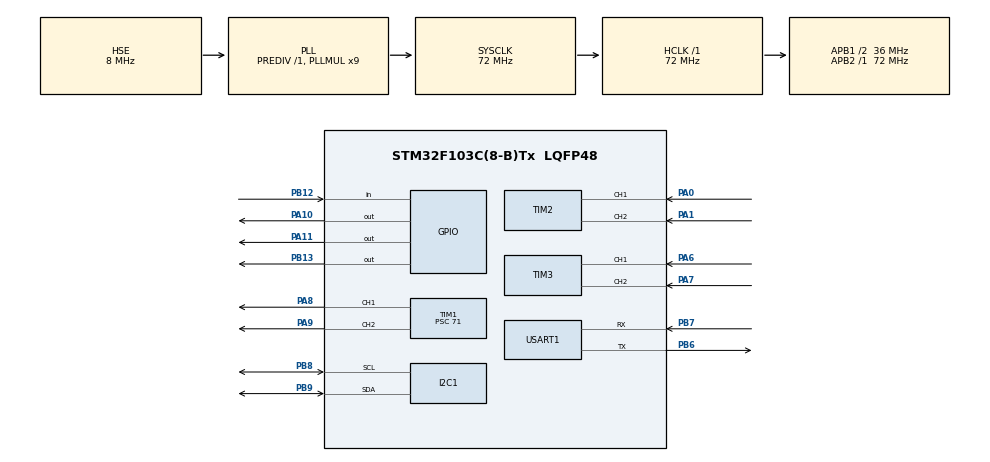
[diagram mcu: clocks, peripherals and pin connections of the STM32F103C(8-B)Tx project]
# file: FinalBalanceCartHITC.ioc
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Mcu.Family=STM32F1
Mcu.Name=STM32F103C(8-B)Tx
Mcu.Package=LQFP48
NVIC.PriorityGroup=NVIC_PRIORITYGROUP_4
NVIC.TIM4_IRQn=true\:0\:0\:false\:false\:true\:true\:true\:true
PA0-WKUP.Signal=S_TIM2_CH1_ETR
PA1.Signal=S_TIM2_CH2
PA10.Signal=GPIO_Output
PA11.Signal=GPIO_Output
PA13.Mode=Serial_Wire
PA13.Signal=SYS_JTMS-SWDIO
PA14.Mode=Serial_Wire
PA14.Signal=SYS_JTCK-SWCLK
PA6.Signal=S_TIM3_CH1
PA7.Signal=S_TIM3_CH2
PA8.Signal=S_TIM1_CH1
PA9.Signal=S_TIM1_CH2
PB12.Signal=GPIO_Input
PB13.Signal=GPIO_Output
PB6.Mode=Asynchronous
PB6.Signal=USART1_TX
PB7.Mode=Asynchronous
PB7.Signal=USART1_RX
PB8.Mode=I2C
PB8.Signal=I2C1_SCL
PB9.Mode=I2C
PB9.Signal=I2C1_SDA
PD0-OSC_IN.Mode=HSE-External-Oscillator
PD0-OSC_IN.Signal=RCC_OSC_IN
PD1-OSC_OUT.Mode=HSE-External-Oscillator
PD1-OSC_OUT.Signal=RCC_OSC_OUT
ProjectManager.HeapSize=0x200
ProjectManager.StackSize=0x400
ProjectManager.TargetToolchain=MDK-ARM V5.32
RCC.AHBFreq_Value=72000000
RCC.APB1CLKDivider=RCC_HCLK_DIV2
RCC.APB1Freq_Value=36000000
RCC.APB1TimFreq_Value=72000000
RCC.APB2Freq_Value=72000000
RCC.APB2TimFreq_Value=72000000
RCC.HCLKFreq_Value=72000000
RCC.PLLMUL=RCC_PLL_MUL9
RCC.PLLSourceVirtual=RCC_PLLSOURCE_HSE
RCC.SYSCLKFreq_VALUE=72000000
RCC.SYSCLKSource=RCC_SYSCLKSOURCE_PLLCLK
RCC.USBFreq_Value=72000000
SH.S_TIM1_CH1.0=TIM1_CH1,PWM Generation1 CH1
SH.S_TIM1_CH2.0=TIM1_CH2,PWM Generation2 CH2
SH.S_TIM2_CH1_ETR.0=TIM2_CH1,Encoder_Interface
SH.S_TIM2_CH2.0=TIM2_CH2,Encoder_Interface
SH.S_TIM3_CH1.0=TIM3_CH1,Encoder_Interface
SH.S_TIM3_CH2.0=TIM3_CH2,Encoder_Interface
TIM1.AutoReloadPreload=TIM_AUTORELOAD_PRELOAD_ENABLE
TIM1.Channel-PWM\ Generation1\ CH1=TIM_CHANNEL_1
TIM1.Channel-PWM\ Generation2\ CH2=TIM_CHANNEL_2
TIM1.Period=99
TIM1.Prescaler=71
TIM2.AutoReloadPreload=TIM_AUTORELOAD_PRELOAD_ENABLE
TIM2.EncoderMode=TIM_ENCODERMODE_TI12
TIM2.IC1Filter=10
TIM3.AutoReloadPreload=TIM_AUTORELOAD_PRELOAD_ENABLE
TIM3.EncoderMode=TIM_ENCODERMODE_TI12
TIM3.IC1Filter=10
TIM4.Period=999
TIM4.Prescaler=7199
USART1.VirtualMode=VM_ASYNC
VP_TIM1_VS_ClockSourceINT.Mode=Internal
VP_TIM4_VS_ClockSourceINT.Mode=Internal
board=custom

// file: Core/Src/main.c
/* USER CODE BEGIN Header */
/**
  ******************************************************************************
  * @file           : main.c
  * @brief          : Main program body
  ******************************************************************************
  * @attention
  *
  * Copyright (c) 2025 STMicroelectronics.
  * All rights reserved.
  *
  * This software is licensed under terms that can be found in the LICENSE file
  * in the root directory of this software component.
  * If no LICENSE file comes with this software, it is provided AS-IS.
  *
  ******************************************************************************
  */
/* USER CODE END Header */
#include "main.h"

/* USER CODE BEGIN Includes */
#include "mpu6050.h"
#include "pid.h"
#include "motor_control.h"
#include "encoder.h"
#include "safety.h"
#include "flash_storage.h"
#include <stdio.h>
#include <math.h>
#include <string.h>
/* USER CODE END Includes */

I2C_HandleTypeDef hi2c1;

TIM_HandleTypeDef htim1;
TIM_HandleTypeDef htim2;
TIM_HandleTypeDef htim3;
TIM_HandleTypeDef htim4;

UART_HandleTypeDef huart1;

/* USER CODE BEGIN PV */
// PID & Kalman Filter
MPU6050_t mpu6050;
Encoder motor1Encoder;
Encoder motor2Encoder;
PID_Controller pidRoll;

/* USER CODE END PV */

void SystemClock_Config(void);
static void MX_GPIO_Init(void);
static void MX_I2C1_Init(void);
static void MX_TIM1_Init(void);
static void MX_TIM2_Init(void);
static void MX_TIM3_Init(void);
static void MX_USART1_UART_Init(void);
static void MX_TIM4_Init(void);
/* USER CODE BEGIN PFP */
// Ham lay thoi gian hien tai
uint32_t millis(void) {
    return HAL_GetTick();
}

// Ham doc goc nghieng hien tai (cho Auto-Tune)
//float GetCurrentTiltAngle(void) {
//    MPU6050_Data data;
//    MPU6050_ReadData(&data);
//		Ax=data.angleX;
//    return data.angleX;
//}

// Ham dieu khien motor (cho Auto-Tune)
void SetMotorSpeed(float speed) {
    Motor_SetSpeed(speed, speed);
}

// In log debug qua UART
void LogData(float angle, float speedL, float speedR, int16_t enc1, int16_t enc2) {
    char buffer[128];
    printf(buffer, sizeof(buffer), "Angle: %.2f, SpeedL: %.2f, SpeedR: %.2f, Enc1: %d, Enc2: %d\r\n",
             angle, speedL, speedR, enc1, enc2);
    HAL_UART_Transmit(&huart1, (uint8_t*)buffer, strlen(buffer), HAL_MAX_DELAY);
}
/* USER CODE END PFP */

/* USER CODE BEGIN 0 */
// Thong so PID
float filteredAngleX,filteredAngleY;
const float tiltLimit = 30.0f;  // Nguong goc nga toi da
float speed;
uint8_t stop=0;
/* USER CODE END 0 */

int main(void)
{

  /* MCU Configuration--------------------------------------------------------*/

  /* Reset of all peripherals, Initializes the Flash interface and the Systick. */
  HAL_Init();

  /* Configure the system clock */
  SystemClock_Config();

  /* Initialize all configured peripherals */
  MX_GPIO_Init();
  MX_I2C1_Init();
  MX_TIM1_Init();
  MX_TIM2_Init();
  MX_TIM3_Init();
  MX_USART1_UART_Init();
  MX_TIM4_Init();
  /* USER CODE BEGIN 2 */
	HAL_TIM_Base_Start_IT(&htim4);
		// Khoi tao module
    MPU6050_Init(&hi2c1);
		HAL_Delay(100);
    Motor_Init();
    Safety_Init(); //lỗi
		Encoder_Init(&motor1Encoder, &htim2);
    Encoder_Init(&motor2Encoder, &htim3);

		//PID
		PID_Init(&pidRoll, 5.0f, 0.01f, 1.2f);

    // Doc thong so PID tu Flash
    PID_LoadFromFlash(&pidRoll);

    // Khoi dong PWM va Encoder
    HAL_TIM_PWM_Start(&htim1, TIM_CHANNEL_1);  // Motor 1
    HAL_TIM_PWM_Start(&htim1, TIM_CHANNEL_2);  // Motor 2
    HAL_TIM_Encoder_Start(&htim2, TIM_CHANNEL_ALL);  // Encoder motor 1
    HAL_TIM_Encoder_Start(&htim3, TIM_CHANNEL_ALL);  // Encoder motor 2

		uint32_t lastTime = millis();
		MPU6050_Read_All(&hi2c1, &mpu6050);
  /* USER CODE END 2 */

  /* Infinite loop */
  while (1)
  {

    /* USER CODE BEGIN 3 */
		uint32_t now = HAL_GetTick();
    float dt = (now - lastTime) / 1000.0f;
    lastTime = now;

    // Loc goc nghieng voi Kalman
		MPU6050_Read_All(&hi2c1, &mpu6050);
		//Lay goc cua X
		filteredAngleX = mpu6050.KalmanAngleX;
		//Lay gia tri goc Y
    filteredAngleY =  mpu6050.KalmanAngleY;

    // Tinh toan toc do tu PID
    speed = PID_Compute(&pidRoll, filteredAngleX, 0.f);
		if(stop==0)
			Motor_SetSpeed(speed, speed);
    // Doc toc do encoder
    int16_t speed1 = Encoder_GetSpeed(&motor1Encoder);
    int16_t speed2 = Encoder_GetSpeed(&motor2Encoder);

    // Debug (neu co UART)
    printf("Angle: %.2f, Speed1: %d, Speed2: %d\n", filteredAngleX, speed1, speed2);
	}
  /* USER CODE END 3 */
}

void SystemClock_Config(void)
{
  RCC_OscInitTypeDef RCC_OscInitStruct = {0};
  RCC_ClkInitTypeDef RCC_ClkInitStruct = {0};

  /** Initializes the RCC Oscillators according to the specified parameters
  * in the RCC_OscInitTypeDef structure.
  */
  RCC_OscInitStruct.OscillatorType = RCC_OSCILLATORTYPE_HSE;
  RCC_OscInitStruct.HSEState = RCC_HSE_ON;
  RCC_OscInitStruct.HSEPredivValue = RCC_HSE_PREDIV_DIV1;
  RCC_OscInitStruct.HSIState = RCC_HSI_ON;
  RCC_OscInitStruct.PLL.PLLState = RCC_PLL_ON;
  RCC_OscInitStruct.PLL.PLLSource = RCC_PLLSOURCE_HSE;
  RCC_OscInitStruct.PLL.PLLMUL = RCC_PLL_MUL9;
  if (HAL_RCC_OscConfig(&RCC_OscInitStruct) != HAL_OK)
  {
    Error_Handler();
  }

  /** Initializes the CPU, AHB and APB buses clocks
  */
  RCC_ClkInitStruct.ClockType = RCC_CLOCKTYPE_HCLK|RCC_CLOCKTYPE_SYSCLK
                              |RCC_CLOCKTYPE_PCLK1|RCC_CLOCKTYPE_PCLK2;
  RCC_ClkInitStruct.SYSCLKSource = RCC_SYSCLKSOURCE_PLLCLK;
  RCC_ClkInitStruct.AHBCLKDivider = RCC_SYSCLK_DIV1;
  RCC_ClkInitStruct.APB1CLKDivider = RCC_HCLK_DIV2;
  RCC_ClkInitStruct.APB2CLKDivider = RCC_HCLK_DIV1;

  if (HAL_RCC_ClockConfig(&RCC_ClkInitStruct, FLASH_LATENCY_2) != HAL_OK)
  {
    Error_Handler();
  }
}

static void MX_I2C1_Init(void)
{

  hi2c1.Instance = I2C1;
  hi2c1.Init.ClockSpeed = 100000;
  hi2c1.Init.DutyCycle = I2C_DUTYCYCLE_2;
  hi2c1.Init.OwnAddress1 = 0;
  hi2c1.Init.AddressingMode = I2C_ADDRESSINGMODE_7BIT;
  hi2c1.Init.DualAddressMode = I2C_DUALADDRESS_DISABLE;
  hi2c1.Init.OwnAddress2 = 0;
  hi2c1.Init.GeneralCallMode = I2C_GENERALCALL_DISABLE;
  hi2c1.Init.NoStretchMode = I2C_NOSTRETCH_DISABLE;
  if (HAL_I2C_Init(&hi2c1) != HAL_OK)
  {
    Error_Handler();
  }

}

static void MX_TIM1_Init(void)
{

  TIM_ClockConfigTypeDef sClockSourceConfig = {0};
  TIM_MasterConfigTypeDef sMasterConfig = {0};
  TIM_OC_InitTypeDef sConfigOC = {0};
  TIM_BreakDeadTimeConfigTypeDef sBreakDeadTimeConfig = {0};

  htim1.Instance = TIM1;
  htim1.Init.Prescaler = 71;
  htim1.Init.CounterMode = TIM_COUNTERMODE_UP;
  htim1.Init.Period = 99;
  htim1.Init.ClockDivision = TIM_CLOCKDIVISION_DIV1;
  htim1.Init.RepetitionCounter = 0;
  htim1.Init.AutoReloadPreload = TIM_AUTORELOAD_PRELOAD_ENABLE;
  if (HAL_TIM_Base_Init(&htim1) != HAL_OK)
  {
    Error_Handler();
  }
  sClockSourceConfig.ClockSource = TIM_CLOCKSOURCE_INTERNAL;
  if (HAL_TIM_ConfigClockSource(&htim1, &sClockSourceConfig) != HAL_OK)
  {
    Error_Handler();
  }
  if (HAL_TIM_PWM_Init(&htim1) != HAL_OK)
  {
    Error_Handler();
  }
  sMasterConfig.MasterOutputTrigger = TIM_TRGO_RESET;
  sMasterConfig.MasterSlaveMode = TIM_MASTERSLAVEMODE_DISABLE;
  if (HAL_TIMEx_MasterConfigSynchronization(&htim1, &sMasterConfig) != HAL_OK)
  {
    Error_Handler();
  }
  sConfigOC.OCMode = TIM_OCMODE_PWM1;
  sConfigOC.Pulse = 0;
  sConfigOC.OCPolarity = TIM_OCPOLARITY_HIGH;
  sConfigOC.OCNPolarity = TIM_OCNPOLARITY_HIGH;
  sConfigOC.OCFastMode = TIM_OCFAST_DISABLE;
  sConfigOC.OCIdleState = TIM_OCIDLESTATE_RESET;
  sConfigOC.OCNIdleState = TIM_OCNIDLESTATE_RESET;
  if (HAL_TIM_PWM_ConfigChannel(&htim1, &sConfigOC, TIM_CHANNEL_1) != HAL_OK)
  {
    Error_Handler();
  }
  if (HAL_TIM_PWM_ConfigChannel(&htim1, &sConfigOC, TIM_CHANNEL_2) != HAL_OK)
  {
    Error_Handler();
  }
  sBreakDeadTimeConfig.OffStateRunMode = TIM_OSSR_DISABLE;
  sBreakDeadTimeConfig.OffStateIDLEMode = TIM_OSSI_DISABLE;
  sBreakDeadTimeConfig.LockLevel = TIM_LOCKLEVEL_OFF;
  sBreakDeadTimeConfig.DeadTime = 0;
  sBreakDeadTimeConfig.BreakState = TIM_BREAK_DISABLE;
  sBreakDeadTimeConfig.BreakPolarity = TIM_BREAKPOLARITY_HIGH;
  sBreakDeadTimeConfig.AutomaticOutput = TIM_AUTOMATICOUTPUT_DISABLE;
  if (HAL_TIMEx_ConfigBreakDeadTime(&htim1, &sBreakDeadTimeConfig) != HAL_OK)
  {
    Error_Handler();
  }
  HAL_TIM_MspPostInit(&htim1);

}

static void MX_TIM2_Init(void)
{

  TIM_Encoder_InitTypeDef sConfig = {0};
  TIM_MasterConfigTypeDef sMasterConfig = {0};

  htim2.Instance = TIM2;
  htim2.Init.Prescaler = 0;
  htim2.Init.CounterMode = TIM_COUNTERMODE_UP;
  htim2.Init.Period = 65535;
  htim2.Init.ClockDivision = TIM_CLOCKDIVISION_DIV1;
  htim2.Init.AutoReloadPreload = TIM_AUTORELOAD_PRELOAD_ENABLE;
  sConfig.EncoderMode = TIM_ENCODERMODE_TI12;
  sConfig.IC1Polarity = TIM_ICPOLARITY_RISING;
  sConfig.IC1Selection = TIM_ICSELECTION_DIRECTTI;
  sConfig.IC1Prescaler = TIM_ICPSC_DIV1;
  sConfig.IC1Filter = 10;
  sConfig.IC2Polarity = TIM_ICPOLARITY_RISING;
  sConfig.IC2Selection = TIM_ICSELECTION_DIRECTTI;
  sConfig.IC2Prescaler = TIM_ICPSC_DIV1;
  sConfig.IC2Filter = 0;
  if (HAL_TIM_Encoder_Init(&htim2, &sConfig) != HAL_OK)
  {
    Error_Handler();
  }
  sMasterConfig.MasterOutputTrigger = TIM_TRGO_RESET;
  sMasterConfig.MasterSlaveMode = TIM_MASTERSLAVEMODE_DISABLE;
  if (HAL_TIMEx_MasterConfigSynchronization(&htim2, &sMasterConfig) != HAL_OK)
  {
    Error_Handler();
  }

}

static void MX_TIM3_Init(void)
{

  TIM_Encoder_InitTypeDef sConfig = {0};
  TIM_MasterConfigTypeDef sMasterConfig = {0};

  htim3.Instance = TIM3;
  htim3.Init.Prescaler = 0;
  htim3.Init.CounterMode = TIM_COUNTERMODE_UP;
  htim3.Init.Period = 65535;
  htim3.Init.ClockDivision = TIM_CLOCKDIVISION_DIV1;
  htim3.Init.AutoReloadPreload = TIM_AUTORELOAD_PRELOAD_ENABLE;
  sConfig.EncoderMode = TIM_ENCODERMODE_TI12;
  sConfig.IC1Polarity = TIM_ICPOLARITY_RISING;
  sConfig.IC1Selection = TIM_ICSELECTION_DIRECTTI;
  sConfig.IC1Prescaler = TIM_ICPSC_DIV1;
  sConfig.IC1Filter = 10;
  sConfig.IC2Polarity = TIM_ICPOLARITY_RISING;
  sConfig.IC2Selection = TIM_ICSELECTION_DIRECTTI;
  sConfig.IC2Prescaler = TIM_ICPSC_DIV1;
  sConfig.IC2Filter = 0;
  if (HAL_TIM_Encoder_Init(&htim3, &sConfig) != HAL_OK)
  {
    Error_Handler();
  }
  sMasterConfig.MasterOutputTrigger = TIM_TRGO_RESET;
  sMasterConfig.MasterSlaveMode = TIM_MASTERSLAVEMODE_DISABLE;
  if (HAL_TIMEx_MasterConfigSynchronization(&htim3, &sMasterConfig) != HAL_OK)
  {
    Error_Handler();
  }

}

static void MX_TIM4_Init(void)
{

  TIM_ClockConfigTypeDef sClockSourceConfig = {0};
  TIM_MasterConfigTypeDef sMasterConfig = {0};

  htim4.Instance = TIM4;
  htim4.Init.Prescaler = 7199;
  htim4.Init.CounterMode = TIM_COUNTERMODE_UP;
  htim4.Init.Period = 999;
  htim4.Init.ClockDivision = TIM_CLOCKDIVISION_DIV1;
  htim4.Init.AutoReloadPreload = TIM_AUTORELOAD_PRELOAD_DISABLE;
  if (HAL_TIM_Base_Init(&htim4) != HAL_OK)
  {
    Error_Handler();
  }
  sClockSourceConfig.ClockSource = TIM_CLOCKSOURCE_INTERNAL;
  if (HAL_TIM_ConfigClockSource(&htim4, &sClockSourceConfig) != HAL_OK)
  {
    Error_Handler();
  }
  sMasterConfig.MasterOutputTrigger = TIM_TRGO_RESET;
  sMasterConfig.MasterSlaveMode = TIM_MASTERSLAVEMODE_DISABLE;
  if (HAL_TIMEx_MasterConfigSynchronization(&htim4, &sMasterConfig) != HAL_OK)
  {
    Error_Handler();
  }

}

static void MX_USART1_UART_Init(void)
{

  huart1.Instance = USART1;
  huart1.Init.BaudRate = 115200;
  huart1.Init.WordLength = UART_WORDLENGTH_8B;
  huart1.Init.StopBits = UART_STOPBITS_1;
  huart1.Init.Parity = UART_PARITY_NONE;
  huart1.Init.Mode = UART_MODE_TX_RX;
  huart1.Init.HwFlowCtl = UART_HWCONTROL_NONE;
  huart1.Init.OverSampling = UART_OVERSAMPLING_16;
  if (HAL_UART_Init(&huart1) != HAL_OK)
  {
    Error_Handler();
  }

}

static void MX_GPIO_Init(void)
{
  GPIO_InitTypeDef GPIO_InitStruct = {0};

  /* GPIO Ports Clock Enable */
  __HAL_RCC_GPIOD_CLK_ENABLE();
  __HAL_RCC_GPIOA_CLK_ENABLE();
  __HAL_RCC_GPIOB_CLK_ENABLE();

  /*Configure GPIO pin Output Level */
  HAL_GPIO_WritePin(GPIOB, GPIO_PIN_13, GPIO_PIN_RESET);

  /*Configure GPIO pin Output Level */
  HAL_GPIO_WritePin(GPIOA, GPIO_PIN_10|GPIO_PIN_11, GPIO_PIN_RESET);

  /*Configure GPIO pin : PB12 */
  GPIO_InitStruct.Pin = GPIO_PIN_12;
  GPIO_InitStruct.Mode = GPIO_MODE_INPUT;
  GPIO_InitStruct.Pull = GPIO_NOPULL;
  HAL_GPIO_Init(GPIOB, &GPIO_InitStruct);

  /*Configure GPIO pin : PB13 */
  GPIO_InitStruct.Pin = GPIO_PIN_13;
  GPIO_InitStruct.Mode = GPIO_MODE_OUTPUT_PP;
  GPIO_InitStruct.Pull = GPIO_NOPULL;
  GPIO_InitStruct.Speed = GPIO_SPEED_FREQ_LOW;
  HAL_GPIO_Init(GPIOB, &GPIO_InitStruct);

  /*Configure GPIO pins : PA10 PA11 */
  GPIO_InitStruct.Pin = GPIO_PIN_10|GPIO_PIN_11;
  GPIO_InitStruct.Mode = GPIO_MODE_OUTPUT_PP;
  GPIO_InitStruct.Pull = GPIO_NOPULL;
  GPIO_InitStruct.Speed = GPIO_SPEED_FREQ_LOW;
  HAL_GPIO_Init(GPIOA, &GPIO_InitStruct);

}

/* USER CODE BEGIN 4 */
void HAL_TIM_PeriodElapsedCallback(TIM_HandleTypeDef *htim) {
    if (htim->Instance == TIM4) {
//        if(Safety_CheckTiltAngle(filteredAngleX,tiltLimit)){
//					stop=1;
//				}else{
//					stop=0;
//				}  // Kiem tra goc 30 do moi 10ms
//
				// Xu ly Auto-tune khi bam nut
				if (HAL_GPIO_ReadPin(GPIOB, GPIO_PIN_12) == GPIO_PIN_RESET) {
					PID_AutoTune(&pidRoll,filteredAngleX, SetMotorSpeed);
				}
    }
}
/* USER CODE END 4 */

void Error_Handler(void)
{
  __disable_irq();
  while (1)
  {
  }
}
